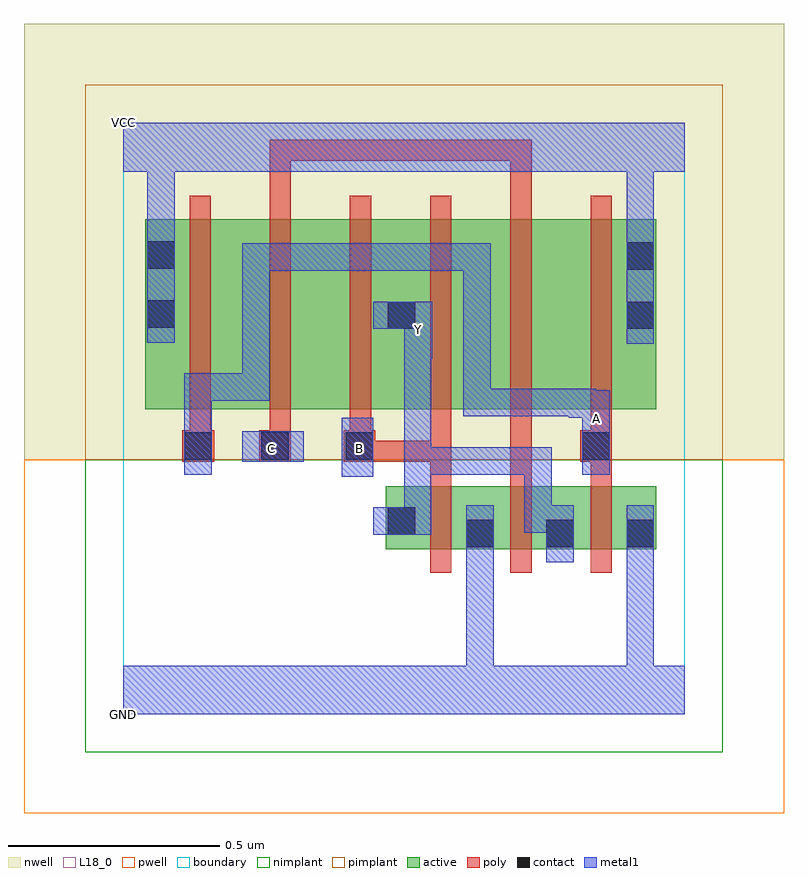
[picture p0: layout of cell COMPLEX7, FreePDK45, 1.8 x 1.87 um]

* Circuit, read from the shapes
.subckt COMPLEX7 A B C GND VCC Y
M1 GND B Y VSUBS nfet w=0.15u l=0.05u
M2 Y C GND VSUBS nfet w=0.15u l=0.05u
M3 GND A Y VSUBS nfet w=0.15u l=0.05u
M4 n1 A VCC n2 pfet w=0.45u l=0.05u
M5 n3 C n1 n2 pfet w=0.45u l=0.05u
M6 Y B n3 n2 pfet w=0.45u l=0.05u
M7 n4 B Y n2 pfet w=0.45u l=0.05u
M8 n5 C n4 n2 pfet w=0.45u l=0.05u
M9 VCC A n5 n2 pfet w=0.45u l=0.05u
.ends

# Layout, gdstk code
import gdstk
lib = gdstk.Library(unit=1e-6, precision=1e-09)
def R(c, l, rs):  # rectangles x0, y0, x1, y1
    for r in rs: c.add(gdstk.rectangle(r[:2], r[2:], *l))
def A(c, l, x, y, w, h, nx, ny, dx, dy):  # array of equal rectangles
    R(c, l, [(x+i*dx, y+j*dy, x+i*dx+w, y+j*dy+h) for i in range(nx) for j in range(ny)])
active = (1, 0)
pwell = (2, 0)
nwell = (3, 0)
nimplant = (4, 0)
pimplant = (5, 0)
poly = (9, 0)
contact = (10, 0)
metal1 = (11, 0)
L18_0 = (18, 0)
boundary = (235, 0)

complex7 = lib.new_cell('COMPLEX7')
R(complex7, active, [(0.622,0.39,0.882,0.54), (0.807,0.39,1.072,0.54), (0.807,0.39,0.882,0.465), (0.997,0.39,1.072,0.54), (0.997,0.39,1.262,0.54), (1.187,0.39,1.262,0.54), (0.622,0.397,0.697,0.54), (0.052,0.722,0.277,1.172), (0.052,0.722,0.127,1.125), (0.277,0.722,0.467,1.172), (0.467,0.722,0.697,1.172), (0.622,0.722,0.847,1.172), (0.847,0.722,1.037,1.172), (1.037,0.722,1.262,1.172), (1.187,0.722,1.262,1.122), (0.622,0.732,0.697,1.07)])
R(complex7, pwell, [(-0.235,-0.235,1.565,0.602)])
R(complex7, nwell, [(-0.235,0.602,1.565,1.635)])
R(complex7, nimplant, [(-0.09,-0.09,1.42,0.602)])
R(complex7, pimplant, [(-0.09,0.602,1.42,1.49)])
A(complex7, poly, 0.727, 0.335, 0.05, 0.26, 3, 1, 0.19, 0)
A(complex7, poly, 0.157, 0.622, 0.05, 0.095, 3, 1, 0.19, 0)
A(complex7, poly, 0.157, 0.667, 0.05, 0.56, 6, 1, 0.19, 0)
R(complex7, poly, [(0.727,0.545,0.777,0.647), (0.917,0.545,0.967,0.64), (1.107,0.545,1.157,0.647), (0.917,0.59,0.967,0.64), (0.917,0.59,0.967,0.717), (0.14,0.597,0.215,0.672), (0.322,0.597,0.397,0.672), (0.522,0.597,0.597,0.672), (0.547,0.597,0.777,0.647), (0.727,0.597,0.777,0.647), (0.727,0.597,0.777,0.647), (0.727,0.597,0.777,0.647), (0.727,0.597,0.777,0.717), (1.082,0.597,1.157,0.672), (1.107,0.622,1.157,0.717), (0.347,1.177,0.397,1.36), (0.917,1.177,0.967,1.36), (0.347,1.31,0.397,1.36), (0.347,1.31,0.645,1.36), (0.595,1.31,0.645,1.36), (0.595,1.31,0.645,1.36), (0.595,1.31,0.645,1.36), (0.595,1.31,0.777,1.36), (0.727,1.31,0.777,1.36), (0.727,1.31,0.777,1.36), (0.727,1.31,0.777,1.36), (0.727,1.31,0.967,1.36), (0.917,1.31,0.967,1.36), (0.917,1.31,0.967,1.36), (0.917,1.31,0.967,1.36)])
A(complex7, contact, 0.812, 0.395, 0.065, 0.065, 3, 1, 0.19, 0)
R(complex7, contact, [(0.627,0.425,0.692,0.49), (0.145,0.602,0.21,0.667), (0.327,0.602,0.392,0.667), (0.527,0.602,0.592,0.667), (1.087,0.602,1.152,0.667), (0.627,0.912,0.692,0.977), (1.192,0.912,1.257,0.977), (0.057,0.915,0.122,0.98), (1.192,1.052,1.257,1.117), (0.057,1.055,0.122,1.12)])
A(complex7, metal1, 0.812, 0.36, 0.065, 0.135, 3, 1, 0.19, 0)
R(complex7, metal1, [(0,0,1.33,0.115), (0.812,0.05,0.877,0.115), (0.812,0.05,0.877,0.115), (0.812,0.05,0.877,0.115), (0.812,0.05,0.877,0.115), (0.812,0.05,0.877,0.425), (1.192,0.05,1.257,0.115), (1.192,0.05,1.257,0.115), (1.192,0.05,1.257,0.425), (1.192,0.36,1.257,0.425), (1.192,0.36,1.257,0.425), (0.592,0.425,0.73,0.49), (0.665,0.425,0.73,0.49), (0.665,0.425,0.73,0.632), (0.665,0.425,0.73,0.907), (0.95,0.43,1.067,0.495), (0.95,0.43,1.015,0.632), (0.517,0.562,0.592,0.702), (0.145,0.567,0.21,0.702), (0.665,0.567,0.87,0.632), (0.805,0.567,0.87,0.632), (0.805,0.567,1.015,0.632), (1.087,0.567,1.152,0.767), (0.282,0.597,0.427,0.67), (0.145,0.637,0.21,0.702), (0.145,0.637,0.21,0.702), (0.145,0.637,0.21,0.807), (1.055,0.702,1.152,0.767), (1.055,0.702,1.12,0.77), (0.805,0.705,0.87,0.77), (0.805,0.705,0.87,0.77), (0.805,0.705,0.87,0.77), (0.805,0.705,0.87,0.77), (0.805,0.705,0.87,0.77), (0.805,0.705,1.12,0.77), (0.805,0.705,0.87,1.115), (0.145,0.742,0.21,0.807), (0.145,0.742,0.347,0.807), (0.282,0.742,0.347,0.807), (0.282,0.742,0.347,0.807), (0.282,0.742,0.347,0.807), (0.282,0.742,0.347,1.115), (0.665,0.842,0.732,0.977), (1.192,0.877,1.257,1.152), (0.057,0.88,0.122,1.155), (0.592,0.912,0.73,0.977), (0.665,0.912,0.73,0.977), (0.282,1.05,0.347,1.115), (0.282,1.05,0.592,1.115), (0.527,1.05,0.592,1.115), (0.527,1.05,0.592,1.115), (0.527,1.05,0.592,1.115), (0.527,1.05,0.73,1.115), (0.665,1.05,0.73,1.115), (0.665,1.05,0.87,1.115), (0.805,1.05,0.87,1.115), (1.192,1.087,1.257,1.152), (1.192,1.087,1.257,1.152), (1.192,1.087,1.257,1.35), (0.057,1.09,0.122,1.35), (0,1.285,1.33,1.4), (0.057,1.285,0.122,1.35), (0.057,1.285,0.122,1.35)])
A(complex7, L18_0, 0.812, 0.36, 0.065, 0.135, 3, 1, 0.19, 0)
R(complex7, L18_0, [(0,0,1.33,0.115), (0.812,0.05,0.877,0.115), (0.812,0.05,0.877,0.115), (0.812,0.05,0.877,0.115), (0.812,0.05,0.877,0.115), (0.812,0.05,0.877,0.425), (1.192,0.05,1.257,0.115), (1.192,0.05,1.257,0.115), (1.192,0.05,1.257,0.425), (1.192,0.36,1.257,0.425), (1.192,0.36,1.257,0.425), (0.592,0.425,0.73,0.49), (0.665,0.425,0.73,0.49), (0.665,0.425,0.73,0.907), (0.665,0.425,0.73,0.632), (0.95,0.43,1.015,0.632), (0.95,0.43,1.067,0.495), (0.517,0.562,0.592,0.702), (0.145,0.567,0.21,0.702), (0.665,0.567,0.87,0.632), (0.805,0.567,0.87,0.632), (0.805,0.567,1.015,0.632), (1.087,0.567,1.152,0.767), (0.282,0.597,0.427,0.67), (0.317,0.597,0.382,0.662), (0.527,0.597,0.592,0.662), (0.145,0.637,0.21,0.702), (0.145,0.637,0.21,0.702), (0.145,0.637,0.21,0.807), (1.087,0.667,1.152,0.732), (1.055,0.702,1.12,0.77), (1.055,0.702,1.152,0.767), (0.805,0.705,0.87,0.77), (0.805,0.705,0.87,0.77), (0.805,0.705,0.87,0.77), (0.805,0.705,0.87,0.77), (0.805,0.705,0.87,0.77), (0.805,0.705,0.87,1.115), (0.805,0.705,1.12,0.77), (0.145,0.742,0.21,0.807), (0.145,0.742,0.347,0.807), (0.282,0.742,0.347,0.807), (0.282,0.742,0.347,0.807), (0.282,0.742,0.347,0.807), (0.282,0.742,0.347,1.115), (0.665,0.842,0.732,0.977), (0.667,0.877,0.732,0.942), (1.192,0.877,1.257,1.152), (0.057,0.88,0.122,1.155), (0.592,0.912,0.73,0.977), (0.665,0.912,0.73,0.977), (0.282,1.05,0.347,1.115), (0.282,1.05,0.592,1.115), (0.527,1.05,0.592,1.115), (0.527,1.05,0.592,1.115), (0.527,1.05,0.592,1.115), (0.527,1.05,0.73,1.115), (0.665,1.05,0.73,1.115), (0.665,1.05,0.87,1.115), (0.805,1.05,0.87,1.115), (1.192,1.087,1.257,1.152), (1.192,1.087,1.257,1.152), (1.192,1.087,1.257,1.35), (0.057,1.09,0.122,1.35), (0,1.285,1.33,1.4), (0.057,1.285,0.122,1.35), (0.057,1.285,0.122,1.35)])
R(complex7, boundary, [(0,0,1.33,1.4)])
complex7.add(gdstk.Label('A', (1.12,0.7), layer=11, texttype=0))
complex7.add(gdstk.Label('B', (0.56,0.63), layer=11, texttype=0))
complex7.add(gdstk.Label('C', (0.35,0.63), layer=11, texttype=0))
complex7.add(gdstk.Label('Y', (0.7,0.91), layer=11, texttype=0))
complex7.add(gdstk.Label('VCC', (0,1.4), layer=11, texttype=0))
complex7.add(gdstk.Label('GND', (0,0), layer=11, texttype=0))

lib.write_gds('COMPLEX7.gds')
